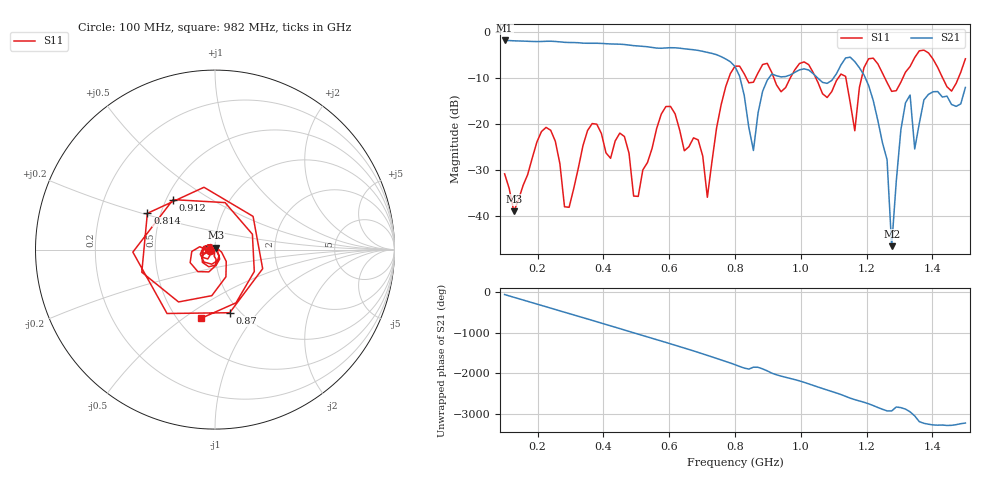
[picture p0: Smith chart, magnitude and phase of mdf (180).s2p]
! NanoVNA-App
! Date: 2025-09-25 15:39:49
! Start: 100MHz Stop: 1,5GHz Points: 101
! S-Parameter data: F S11 S21 S12 S22
# Hz S RI R 50
!  Frequency  S11_Real  S11_Imag  S21_Real  S21_Imag  S12_Real  S12_Imag  S22_Real  S22_Imag
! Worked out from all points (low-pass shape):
!   101 points, 100 MHz to 1.5 GHz, reference 50 ohm
!   highest |S21| = -1.80 dB at 100 MHz (marker M1); lowest = -46.5 dB at 1.276 GHz (marker M2)
!   |S21| within 3 dB of the highest: start of sweep to 739.4 MHz
!   lowest |S11| = -38.9 dB at 128 MHz (marker M3), VSWR 1.02, Z = 50.3 + j1.08 ohm
!   |S11| at or under -10 dB: start of sweep to 780.9 MHz; 1.046 GHz to 1.113 GHz (67.53 MHz wide, 6.25 % of centre); 1.256 GHz to 1.31 GHz (53.99 MHz wide, 4.21 % of centre) (the widest 3 of 7)
!   S12 and S22 are empty: the file has one direction only
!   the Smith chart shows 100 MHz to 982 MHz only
!   S11 on the Smith chart (normalised r, x): 100 MHz: 0.94, -0.01; 814 MHz: 0.42, +0.21; 870 MHz: 0.90, -0.73; 912 MHz: 0.54, +0.35; 982 MHz: 0.65, -0.59
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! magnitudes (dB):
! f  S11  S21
! 100 MHz  -30.8  -1.8
! 128 MHz  -38.9  -1.9
! 212 MHz  -21.6  -2.0
! 282 MHz  -37.9  -2.2
! 338 MHz  -24.7  -2.4
! 464 MHz  -22.7  -2.7
! 506 MHz  -35.7  -3.0
! 576 MHz  -17.8  -3.5
! 716 MHz  -35.9  -4.4
! 800 MHz  -7.4  -7.5
! 814 MHz  -7.4  -9.6
! 870 MHz  -8.8  -17.6
! 912 MHz  -8.8  -9.1
! 982 MHz  -8.2  -8.7
! 1.038 GHz  -8.8  -9.0
! 1.164 GHz  -21.4  -6.4
! 1.192 GHz  -7.7  -9.3
! 1.262 GHz  -10.9  -27.7
! 1.276 GHz  -12.9  -46.5
! 1.318 GHz  -8.7  -15.4
! 1.346 GHz  -5.5  -25.4
! 1.5 GHz  -5.8  -12.0
